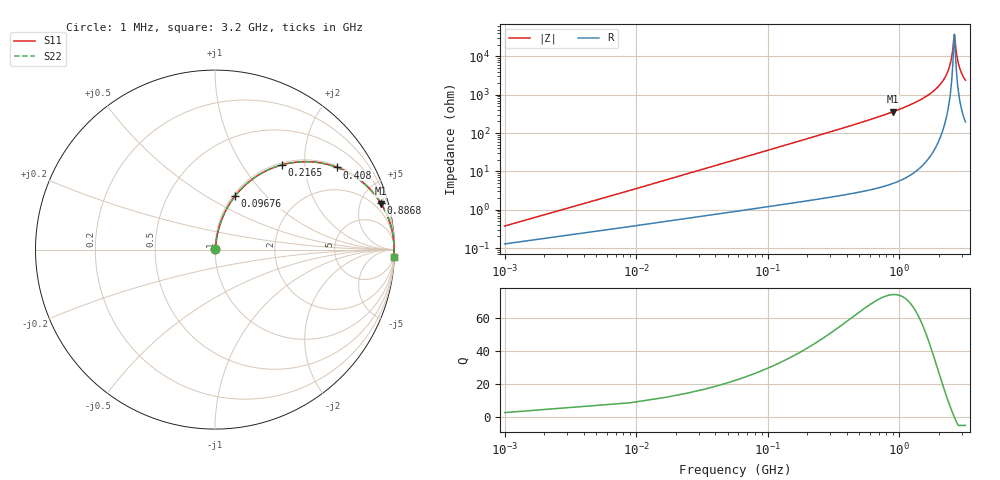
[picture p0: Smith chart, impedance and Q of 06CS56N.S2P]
! Coilcraft 0603CS-56N Chip Inductor
! 21 May 2002
# MHZ S MA R 50
!Freq  MagS11  AngS11  MagS21  AngS21  MagS12  AngS12  MagS22  AngS22
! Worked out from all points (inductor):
!   402 points, 1 MHz to 3.2 GHz, reference 50 ohm
!   read as one part in series: L = 56 nH near 16.96 MHz
!   highest Q = 74.1 at 902.7 MHz (marker M1), where L = 63.4 nH
!   self-resonance near 2.634 GHz
!   S11 on the Smith chart (normalised r, x): 1 MHz: 1.00, +0.01; 96.76 MHz: 1.02, +0.68; 216.5 MHz: 1.04, +1.53; 408 MHz: 1.05, +2.94; 886.8 MHz: 1.10, +7.04; 3.2 GHz: 5, -48
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1  0.003739 69.8  0.9987 -0.2  0.9987 -0.2  0.003739 69.8
24.94  0.08711 81.1  0.9903 -5.0  0.9903 -5.0  0.08711 81.1
32.92  0.1145 80.0  0.9867 -6.6  0.9867 -6.6  0.1145 80.0
56.86  0.1948 76.2  0.9721 -11.2  0.9721 -11.2  0.1948 76.2
96.76  0.3195 69.4  0.9367 -18.6  0.9367 -18.6  0.3195 69.4
216.46  0.6019 51.7  0.7848 -37.0  0.7848 -37.0  0.6019 51.7
407.98  0.8205 33.9  0.5578 -55.1  0.5578 -55.1  0.8205 33.9
535.66  0.8859 26.8  0.4506 -62.3  0.4506 -62.3  0.8859 26.8
886.78  0.9585 15.8  0.2725 -73.4  0.2725 -73.4  0.9585 15.8
902.74  0.9601 15.5  0.2669 -73.8  0.2669 -73.8  0.9601 15.5
1070.32  0.9734 12.5  0.2159 -76.7  0.2159 -76.7  0.9734 12.5
1604.98  0.9917 6.3  0.1106 -82.5  0.1106 -82.5  0.9917 6.3
2139.64  0.9967 2.6  0.04536 -84.6  0.04536 -84.6  0.9967 2.6
2323.18  0.9972 1.6  0.0275 -83.5  0.0275 -83.5  0.9972 1.6
2458.84  0.9974 0.9  0.01535 -79.8  0.01535 -79.8  0.9974 0.9
2538.64  0.9974 0.5  0.008666 -72.3  0.008666 -72.3  0.9974 0.5
2634.4  0.9973 0.0  0.002684 -6.9  0.002684 -6.9  0.9973 0.0
2674.3  0.9973 -0.2  0.003973 46.8  0.003973 46.8  0.9973 -0.2
2746.12  0.9972 -0.5  0.009041 71.5  0.009041 71.5  0.9972 -0.5
2849.86  0.9969 -0.9  0.01683 79.1  0.01683 79.1  0.9969 -0.9
3001.48  0.9965 -1.6  0.02792 82.0  0.02792 82.0  0.9965 -1.6
3200  0.9957 -2.4  0.04178 82.9  0.04178 82.9  0.9957 -2.4
